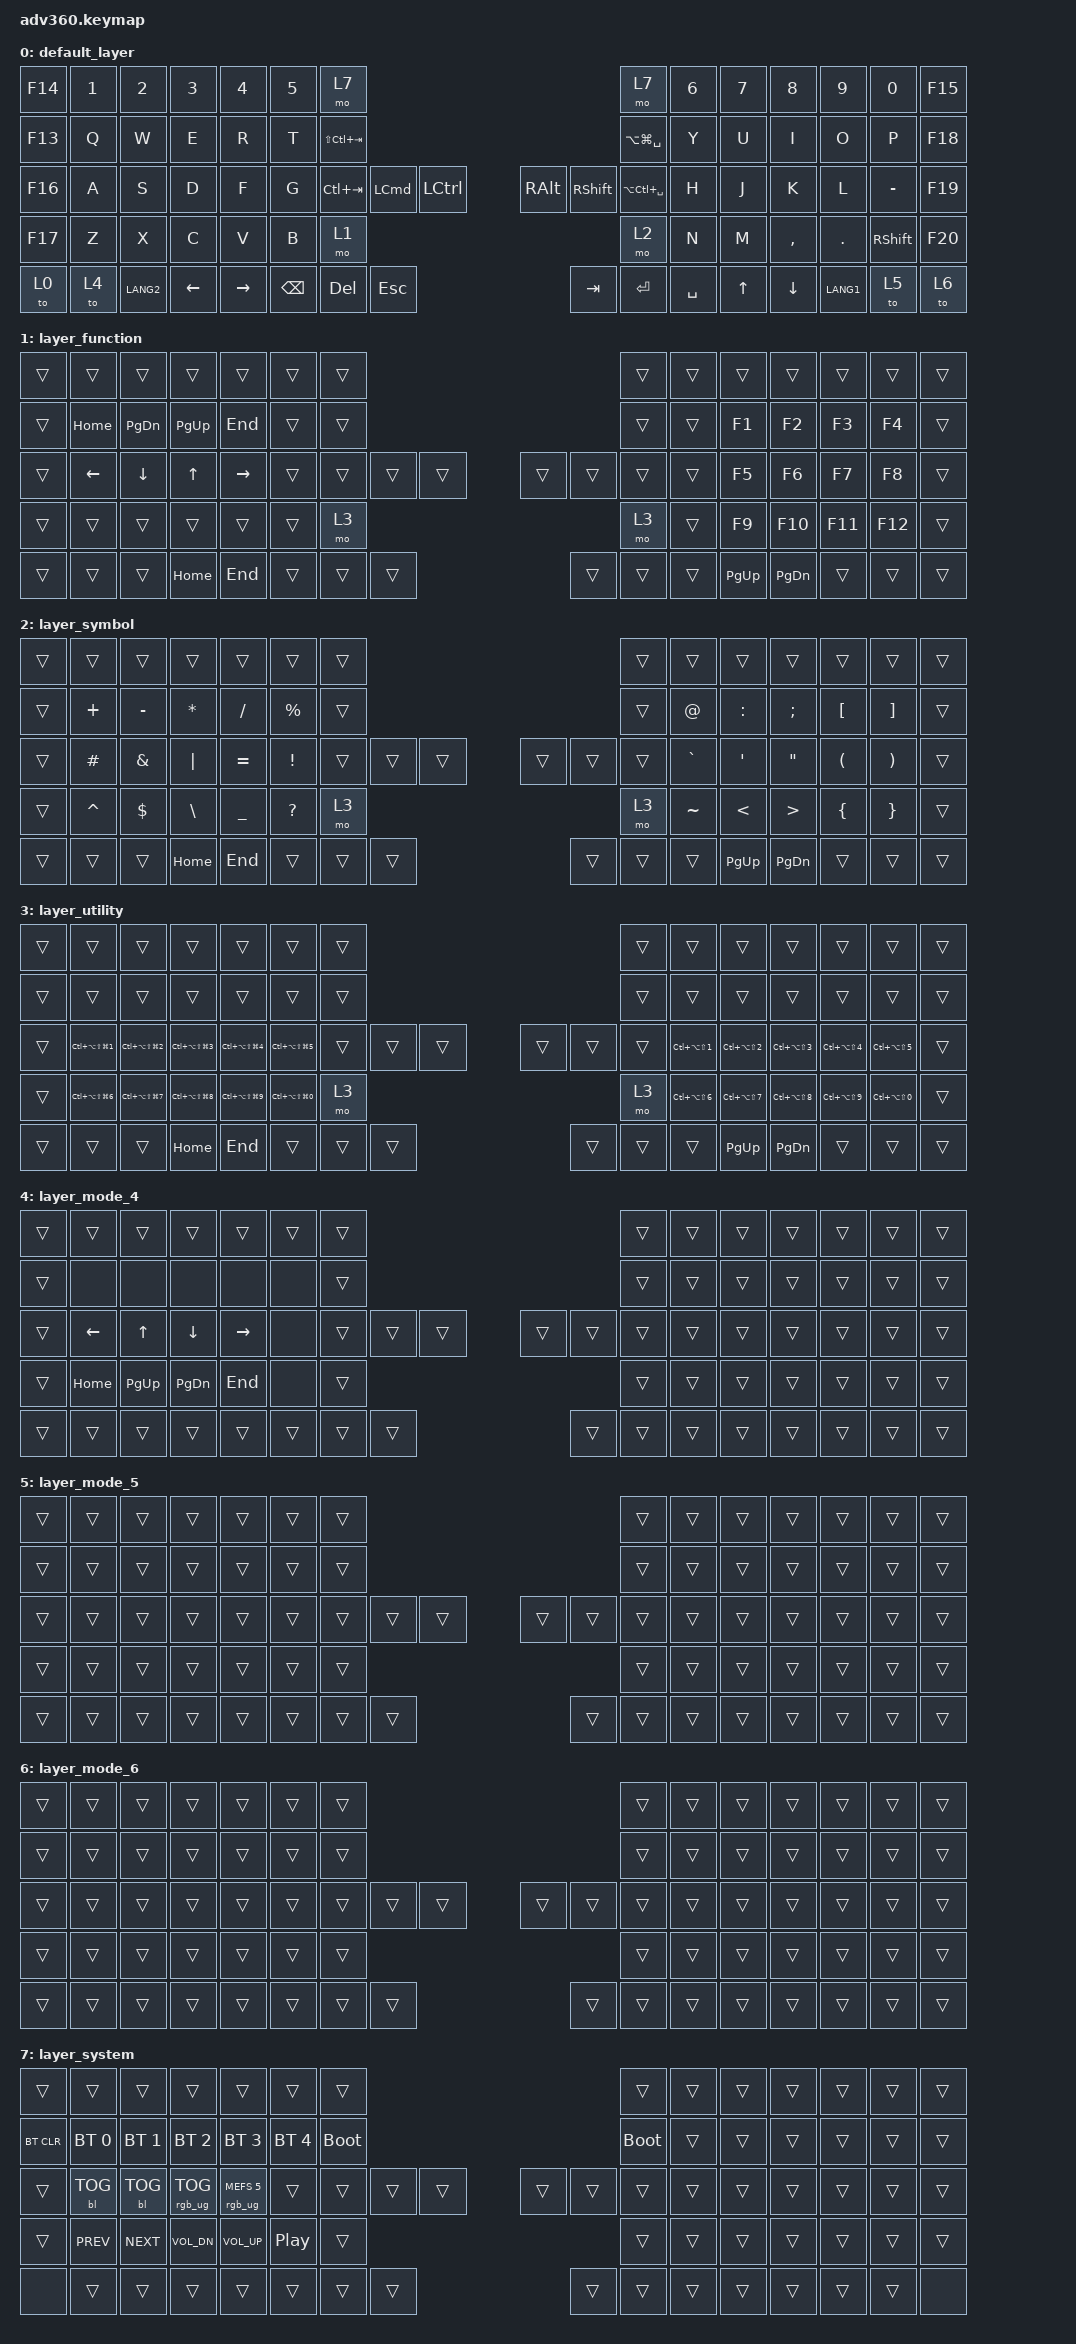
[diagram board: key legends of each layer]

/*
 * Copyright (c) 2020 The ZMK Contributors
 *
 * SPDX-License-Identifier: MIT
 */


/* THIS FILE WAS GENERATED!
 *
 * This file was generated automatically. You may or may not want to
 * edit it directly.
 */

#include <behaviors.dtsi>
#include <dt-bindings/zmk/keys.h>
#include <dt-bindings/zmk/bt.h>
#include <dt-bindings/zmk/backlight.h>
#include <dt-bindings/zmk/rgb.h>

/ {
  behaviors {
    #include "macros.dtsi"
    #include "version.dtsi"

    hm: homerow_mods {
        compatible = "zmk,behavior-hold-tap";
        label = "HOMEROW_MODS";
        #binding-cells = <2>;
        tapping-term-ms = <200>;
        quick_tap_ms = <175>;
        flavor = "tap-preferred";
        bindings = <&kp>, <&kp>;
    };
  };

    keymap {
        compatible = "zmk,keymap";


        default_layer {
            bindings = <
 &kp F14  &kp N1     &kp N2    &kp N3     &kp N4  &kp N5                      &mo 7                                                                                                  &mo 7  &kp N6  &kp N7     &kp N8     &kp N9      &kp N0  &kp F15
 &kp F13   &kp Q      &kp W     &kp E      &kp R   &kp T            &kp LS(LC(TAB))                                                                                      &kp LA(LG(SPACE))   &kp Y   &kp U      &kp I      &kp O       &kp P  &kp F18
 &kp F16   &kp A      &kp S     &kp D      &kp F   &kp G                &kp LC(TAB)  &kp LEFT_COMMAND  &kp LEFT_CONTROL                  &kp RIGHT_ALT  &kp RIGHT_SHIFT  &kp LA(LC(SPACE))   &kp H   &kp J      &kp K      &kp L   &kp MINUS  &kp F19
 &kp F17   &kp Z      &kp X     &kp C      &kp V   &kp B                                                          &mo 1                          &mo 2                                       &kp N   &kp M  &kp COMMA    &kp DOT  &kp RSHIFT  &kp F20
   &to 0   &to 4  &kp LANG2  &kp LEFT  &kp RIGHT                           &kp BSPC           &kp DEL        &kp ESCAPE                        &kp TAB        &kp ENTER          &kp SPACE          &kp UP   &kp DOWN  &kp LANG1       &to 5    &to 6
            >;
        };

        layer_function {
            bindings = <
 &trans    &trans         &trans       &trans     &trans  &trans            &trans                                                  &trans  &trans       &trans         &trans   &trans   &trans  &trans
 &trans  &kp HOME  &kp PAGE_DOWN  &kp PAGE_UP    &kp END  &trans            &trans                                                  &trans  &trans       &kp F1         &kp F2   &kp F3   &kp F4  &trans
 &trans  &kp LEFT       &kp DOWN       &kp UP  &kp RIGHT  &trans            &trans  &trans  &trans                  &trans  &trans  &trans  &trans       &kp F5         &kp F6   &kp F7   &kp F8  &trans
 &trans    &trans         &trans       &trans     &trans  &trans                             &mo 3                   &mo 3                  &trans       &kp F9        &kp F10  &kp F11  &kp F12  &trans
 &trans    &trans         &trans     &kp HOME    &kp END                    &trans  &trans  &trans                  &trans  &trans  &trans          &kp PAGE_UP  &kp PAGE_DOWN   &trans   &trans  &trans
            >;
        };

        layer_symbol {
            bindings = <
 &trans     &trans         &trans         &trans          &trans           &trans            &trans                                                  &trans       &trans            &trans             &trans                &trans                 &trans  &trans
 &trans   &kp PLUS      &kp MINUS   &kp ASTERISK       &kp SLASH      &kp PERCENT            &trans                                                  &trans  &kp AT_SIGN         &kp COLON      &kp SEMICOLON      &kp LEFT_BRACKET      &kp RIGHT_BRACKET  &trans
 &trans   &kp HASH  &kp AMPERSAND       &kp PIPE       &kp EQUAL  &kp EXCLAMATION            &trans  &trans  &trans                  &trans  &trans  &trans    &kp GRAVE  &kp SINGLE_QUOTE  &kp DOUBLE_QUOTES  &kp LEFT_PARENTHESIS  &kp RIGHT_PARENTHESIS  &trans
 &trans  &kp CARET     &kp DOLLAR  &kp BACKSLASH  &kp UNDERSCORE     &kp QUESTION                             &mo 3                   &mo 3                    &kp TILDE            &kp LT             &kp GT        &kp LEFT_BRACE        &kp RIGHT_BRACE  &trans
 &trans     &trans         &trans       &kp HOME         &kp END                             &trans  &trans  &trans                  &trans  &trans  &trans                    &kp PAGE_UP      &kp PAGE_DOWN                &trans                 &trans  &trans
            >;
        };

        layer_utility {
            bindings = <
 &trans                        &trans                        &trans                        &trans                        &trans                        &trans            &trans                                                  &trans                    &trans                    &trans                    &trans                    &trans                    &trans  &trans
 &trans                        &trans                        &trans                        &trans                        &trans                        &trans            &trans                                                  &trans                    &trans                    &trans                    &trans                    &trans                    &trans  &trans
 &trans  &kp LC(LA(LS(LG(NUMBER_1))))  &kp LC(LA(LS(LG(NUMBER_2))))  &kp LC(LA(LS(LG(NUMBER_3))))  &kp LC(LA(LS(LG(NUMBER_4))))  &kp LC(LA(LS(LG(NUMBER_5))))            &trans  &trans  &trans                  &trans  &trans  &trans  &kp LC(LA(LS(NUMBER_1)))  &kp LC(LA(LS(NUMBER_2)))  &kp LC(LA(LS(NUMBER_3)))  &kp LC(LA(LS(NUMBER_4)))  &kp LC(LA(LS(NUMBER_5)))  &trans
 &trans  &kp LC(LA(LS(LG(NUMBER_6))))  &kp LC(LA(LS(LG(NUMBER_7))))  &kp LC(LA(LS(LG(NUMBER_8))))  &kp LC(LA(LS(LG(NUMBER_9))))  &kp LC(LA(LS(LG(NUMBER_0))))                             &mo 3                   &mo 3                  &kp LC(LA(LS(NUMBER_6)))  &kp LC(LA(LS(NUMBER_7)))  &kp LC(LA(LS(NUMBER_8)))  &kp LC(LA(LS(NUMBER_9)))  &kp LC(LA(LS(NUMBER_0)))  &trans
 &trans                        &trans                        &trans                      &kp HOME                       &kp END                                          &trans  &trans  &trans                  &trans  &trans  &trans                                         &kp PAGE_UP             &kp PAGE_DOWN                    &trans                    &trans  &trans
            >;
        };

        layer_mode_4 {
            bindings = <
 &trans    &trans       &trans         &trans     &trans  &trans            &trans                                                  &trans  &trans  &trans  &trans  &trans  &trans  &trans
 &trans     &none        &none          &none      &none   &none            &trans                                                  &trans  &trans  &trans  &trans  &trans  &trans  &trans
 &trans  &kp LEFT       &kp UP       &kp DOWN  &kp RIGHT   &none            &trans  &trans  &trans                  &trans  &trans  &trans  &trans  &trans  &trans  &trans  &trans  &trans
 &trans  &kp HOME  &kp PAGE_UP  &kp PAGE_DOWN    &kp END   &none                            &trans                  &trans                  &trans  &trans  &trans  &trans  &trans  &trans
 &trans    &trans       &trans         &trans     &trans                    &trans  &trans  &trans                  &trans  &trans  &trans          &trans  &trans  &trans  &trans  &trans
            >;
        };

        layer_mode_5 {
            bindings = <
 &trans  &trans  &trans  &trans  &trans  &trans            &trans                                                  &trans  &trans  &trans  &trans  &trans  &trans  &trans
 &trans  &trans  &trans  &trans  &trans  &trans            &trans                                                  &trans  &trans  &trans  &trans  &trans  &trans  &trans
 &trans  &trans  &trans  &trans  &trans  &trans            &trans  &trans  &trans                  &trans  &trans  &trans  &trans  &trans  &trans  &trans  &trans  &trans
 &trans  &trans  &trans  &trans  &trans  &trans                            &trans                  &trans                  &trans  &trans  &trans  &trans  &trans  &trans
 &trans  &trans  &trans  &trans  &trans                    &trans  &trans  &trans                  &trans  &trans  &trans          &trans  &trans  &trans  &trans  &trans
            >;
        };

        layer_mode_6 {
            bindings = <
 &trans  &trans  &trans  &trans  &trans  &trans            &trans                                                  &trans  &trans  &trans  &trans  &trans  &trans  &trans
 &trans  &trans  &trans  &trans  &trans  &trans            &trans                                                  &trans  &trans  &trans  &trans  &trans  &trans  &trans
 &trans  &trans  &trans  &trans  &trans  &trans            &trans  &trans  &trans                  &trans  &trans  &trans  &trans  &trans  &trans  &trans  &trans  &trans
 &trans  &trans  &trans  &trans  &trans  &trans                            &trans                  &trans                  &trans  &trans  &trans  &trans  &trans  &trans
 &trans  &trans  &trans  &trans  &trans                    &trans  &trans  &trans                  &trans  &trans  &trans          &trans  &trans  &trans  &trans  &trans
            >;
        };

        layer_system {
            bindings = <
     &trans        &trans        &trans           &trans                  &trans        &trans                 &trans                                                       &trans  &trans  &trans  &trans  &trans  &trans  &trans
 &bt BT_CLR  &bt BT_SEL 0  &bt BT_SEL 1     &bt BT_SEL 2            &bt BT_SEL 3  &bt BT_SEL 4            &bootloader                                                  &bootloader  &trans  &trans  &trans  &trans  &trans  &trans
     &trans    &bl BL_TOG    &bl BL_TOG  &rgb_ug RGB_TOG  &rgb_ug RGB_MEFS_CMD 5        &trans                 &trans  &trans  &trans                  &trans  &trans       &trans  &trans  &trans  &trans  &trans  &trans  &trans
     &trans    &kp C_PREV    &kp C_NEXT     &kp C_VOL_DN            &kp C_VOL_UP      &kp C_PP                                 &trans                  &trans                       &trans  &trans  &trans  &trans  &trans  &trans
      &none        &trans        &trans           &trans                  &trans                               &trans  &trans  &trans                  &trans  &trans       &trans          &trans  &trans  &trans  &trans   &none
            >;
        };

    };
};
